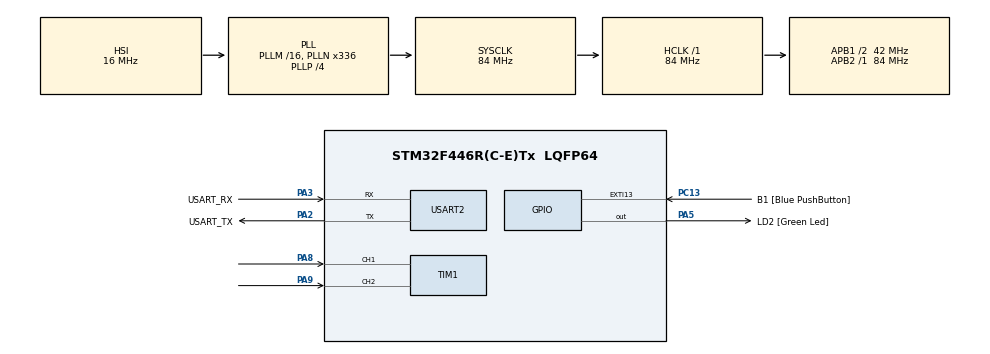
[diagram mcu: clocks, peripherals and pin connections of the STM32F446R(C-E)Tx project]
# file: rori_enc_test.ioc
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Mcu.Family=STM32F4
Mcu.Name=STM32F446R(C-E)Tx
Mcu.Package=LQFP64
NVIC.PriorityGroup=NVIC_PRIORITYGROUP_0
NVIC.TIM2_IRQn=true\:0\:0\:false\:false\:true\:true\:true\:true
PA13.GPIO_Label=TMS
PA13.Mode=Serial_Wire
PA13.Signal=SYS_JTMS-SWDIO
PA14.GPIO_Label=TCK
PA14.Mode=Serial_Wire
PA14.Signal=SYS_JTCK-SWCLK
PA2.GPIO_Label=USART_TX
PA2.Mode=Asynchronous
PA2.Signal=USART2_TX
PA3.GPIO_Label=USART_RX
PA3.Mode=Asynchronous
PA3.Signal=USART2_RX
PA5.GPIO_Label=LD2 [Green Led]
PA5.Signal=GPIO_Output
PA8.Signal=S_TIM1_CH1
PA9.Signal=S_TIM1_CH2
PB3.GPIO_Label=SWO
PB3.Signal=SYS_JTDO-SWO
PC13.GPIO_Label=B1 [Blue PushButton]
PC13.GPIO_ModeDefaultEXTI=GPIO_MODE_IT_FALLING
PC13.Signal=GPXTI13
PC14-OSC32_IN.Mode=LSE-External-Oscillator
PC14-OSC32_IN.Signal=RCC_OSC32_IN
PC15-OSC32_OUT.Mode=LSE-External-Oscillator
PC15-OSC32_OUT.Signal=RCC_OSC32_OUT
PH0-OSC_IN.Mode=HSE-External-Oscillator
PH0-OSC_IN.Signal=RCC_OSC_IN
PH1-OSC_OUT.Mode=HSE-External-Oscillator
PH1-OSC_OUT.Signal=RCC_OSC_OUT
ProjectManager.HeapSize=0x200
ProjectManager.StackSize=0x400
ProjectManager.TargetToolchain=STM32CubeIDE
RCC.48MHZClocksFreq_Value=84000000
RCC.AHBFreq_Value=84000000
RCC.APB1CLKDivider=RCC_HCLK_DIV2
RCC.APB1Freq_Value=42000000
RCC.APB1TimFreq_Value=84000000
RCC.APB2Freq_Value=84000000
RCC.APB2TimFreq_Value=84000000
RCC.CortexFreq_Value=84000000
RCC.FLatency-AdvancedSettings=FLASH_LATENCY_2
RCC.HCLKFreq_Value=84000000
RCC.HSE_VALUE=8000000
RCC.HSI_VALUE=16000000
RCC.PLLN=336
RCC.PLLP=RCC_PLLP_DIV4
RCC.SYSCLKFreq_VALUE=84000000
RCC.SYSCLKSource=RCC_SYSCLKSOURCE_PLLCLK
RCC.USBFreq_Value=168000000
RCC.VCOOutputFreq_Value=336000000
SH.S_TIM1_CH1.0=TIM1_CH1,Encoder_Interface
SH.S_TIM1_CH2.0=TIM1_CH2,Encoder_Interface
TIM1.EncoderMode=TIM_ENCODERMODE_TI12
TIM2.Period=10000-1
TIM2.Prescaler=8400-1
USART2.VirtualMode=VM_ASYNC
VP_TIM2_VS_ClockSourceINT.Mode=Internal
board=NUCLEO-F446RE

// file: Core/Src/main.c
/* USER CODE BEGIN Header */
/**
  ******************************************************************************
  * @file           : main.c
  * @brief          : Main program body
  ******************************************************************************
  * @attention
  *
  * Copyright (c) 2023 STMicroelectronics.
  * All rights reserved.
  *
  * This software is licensed under terms that can be found in the LICENSE file
  * in the root directory of this software component.
  * If no LICENSE file comes with this software, it is provided AS-IS.
  *
  ******************************************************************************
  */
/* USER CODE END Header */
#include "main.h"

/* USER CODE BEGIN Includes */
#include "stdio.h"
#include "stdint.h"
/* USER CODE END Includes */

TIM_HandleTypeDef htim1;
TIM_HandleTypeDef htim2;

UART_HandleTypeDef huart2;

void SystemClock_Config(void);
static void MX_GPIO_Init(void);
static void MX_USART2_UART_Init(void);
static void MX_TIM1_Init(void);
static void MX_TIM2_Init(void);
/* USER CODE BEGIN PFP */
void HAL_TIM_PeriodElapsedCallback(TIM_HandleTypeDef* htim_);
/* USER CODE END PFP */

/* USER CODE BEGIN 0 */
int16_t pre_cnt = 0;
int16_t cnt = 0;
/* USER CODE END 0 */

int main(void)
{

  /* MCU Configuration--------------------------------------------------------*/

  /* Reset of all peripherals, Initializes the Flash interface and the Systick. */
  HAL_Init();

  /* Configure the system clock */
  SystemClock_Config();

  /* Initialize all configured peripherals */
  MX_GPIO_Init();
  MX_USART2_UART_Init();
  MX_TIM1_Init();
  MX_TIM2_Init();
  /* USER CODE BEGIN 2 */
  setbuf(stdout, NULL);

  HAL_TIM_Encoder_Start(&htim1, TIM_CHANNEL_ALL);
  HAL_TIM_Base_Start_IT(&htim1);
  HAL_TIM_Base_Start_IT(&htim2);

  /* USER CODE END 2 */

  /* Infinite loop */
  while (1)
  {

  }
}

void SystemClock_Config(void)
{
  RCC_OscInitTypeDef RCC_OscInitStruct = {0};
  RCC_ClkInitTypeDef RCC_ClkInitStruct = {0};

  /** Configure the main internal regulator output voltage
  */
  __HAL_RCC_PWR_CLK_ENABLE();
  __HAL_PWR_VOLTAGESCALING_CONFIG(PWR_REGULATOR_VOLTAGE_SCALE3);

  /** Initializes the RCC Oscillators according to the specified parameters
  * in the RCC_OscInitTypeDef structure.
  */
  RCC_OscInitStruct.OscillatorType = RCC_OSCILLATORTYPE_HSI;
  RCC_OscInitStruct.HSIState = RCC_HSI_ON;
  RCC_OscInitStruct.HSICalibrationValue = RCC_HSICALIBRATION_DEFAULT;
  RCC_OscInitStruct.PLL.PLLState = RCC_PLL_ON;
  RCC_OscInitStruct.PLL.PLLSource = RCC_PLLSOURCE_HSI;
  RCC_OscInitStruct.PLL.PLLM = 16;
  RCC_OscInitStruct.PLL.PLLN = 336;
  RCC_OscInitStruct.PLL.PLLP = RCC_PLLP_DIV4;
  RCC_OscInitStruct.PLL.PLLQ = 2;
  RCC_OscInitStruct.PLL.PLLR = 2;
  if (HAL_RCC_OscConfig(&RCC_OscInitStruct) != HAL_OK)
  {
    Error_Handler();
  }

  /** Initializes the CPU, AHB and APB buses clocks
  */
  RCC_ClkInitStruct.ClockType = RCC_CLOCKTYPE_HCLK|RCC_CLOCKTYPE_SYSCLK
                              |RCC_CLOCKTYPE_PCLK1|RCC_CLOCKTYPE_PCLK2;
  RCC_ClkInitStruct.SYSCLKSource = RCC_SYSCLKSOURCE_PLLCLK;
  RCC_ClkInitStruct.AHBCLKDivider = RCC_SYSCLK_DIV1;
  RCC_ClkInitStruct.APB1CLKDivider = RCC_HCLK_DIV2;
  RCC_ClkInitStruct.APB2CLKDivider = RCC_HCLK_DIV1;

  if (HAL_RCC_ClockConfig(&RCC_ClkInitStruct, FLASH_LATENCY_2) != HAL_OK)
  {
    Error_Handler();
  }
}

static void MX_TIM1_Init(void)
{

  TIM_Encoder_InitTypeDef sConfig = {0};
  TIM_MasterConfigTypeDef sMasterConfig = {0};

  htim1.Instance = TIM1;
  htim1.Init.Prescaler = 0;
  htim1.Init.CounterMode = TIM_COUNTERMODE_UP;
  htim1.Init.Period = 65535;
  htim1.Init.ClockDivision = TIM_CLOCKDIVISION_DIV1;
  htim1.Init.RepetitionCounter = 0;
  htim1.Init.AutoReloadPreload = TIM_AUTORELOAD_PRELOAD_DISABLE;
  sConfig.EncoderMode = TIM_ENCODERMODE_TI12;
  sConfig.IC1Polarity = TIM_ICPOLARITY_RISING;
  sConfig.IC1Selection = TIM_ICSELECTION_DIRECTTI;
  sConfig.IC1Prescaler = TIM_ICPSC_DIV1;
  sConfig.IC1Filter = 0;
  sConfig.IC2Polarity = TIM_ICPOLARITY_RISING;
  sConfig.IC2Selection = TIM_ICSELECTION_DIRECTTI;
  sConfig.IC2Prescaler = TIM_ICPSC_DIV1;
  sConfig.IC2Filter = 0;
  if (HAL_TIM_Encoder_Init(&htim1, &sConfig) != HAL_OK)
  {
    Error_Handler();
  }
  sMasterConfig.MasterOutputTrigger = TIM_TRGO_RESET;
  sMasterConfig.MasterSlaveMode = TIM_MASTERSLAVEMODE_DISABLE;
  if (HAL_TIMEx_MasterConfigSynchronization(&htim1, &sMasterConfig) != HAL_OK)
  {
    Error_Handler();
  }

}

static void MX_TIM2_Init(void)
{

  TIM_ClockConfigTypeDef sClockSourceConfig = {0};
  TIM_MasterConfigTypeDef sMasterConfig = {0};

  htim2.Instance = TIM2;
  htim2.Init.Prescaler = 8400-1;
  htim2.Init.CounterMode = TIM_COUNTERMODE_UP;
  htim2.Init.Period = 10000-1;
  htim2.Init.ClockDivision = TIM_CLOCKDIVISION_DIV1;
  htim2.Init.AutoReloadPreload = TIM_AUTORELOAD_PRELOAD_DISABLE;
  if (HAL_TIM_Base_Init(&htim2) != HAL_OK)
  {
    Error_Handler();
  }
  sClockSourceConfig.ClockSource = TIM_CLOCKSOURCE_INTERNAL;
  if (HAL_TIM_ConfigClockSource(&htim2, &sClockSourceConfig) != HAL_OK)
  {
    Error_Handler();
  }
  sMasterConfig.MasterOutputTrigger = TIM_TRGO_RESET;
  sMasterConfig.MasterSlaveMode = TIM_MASTERSLAVEMODE_DISABLE;
  if (HAL_TIMEx_MasterConfigSynchronization(&htim2, &sMasterConfig) != HAL_OK)
  {
    Error_Handler();
  }

}

static void MX_USART2_UART_Init(void)
{

  huart2.Instance = USART2;
  huart2.Init.BaudRate = 115200;
  huart2.Init.WordLength = UART_WORDLENGTH_8B;
  huart2.Init.StopBits = UART_STOPBITS_1;
  huart2.Init.Parity = UART_PARITY_NONE;
  huart2.Init.Mode = UART_MODE_TX_RX;
  huart2.Init.HwFlowCtl = UART_HWCONTROL_NONE;
  huart2.Init.OverSampling = UART_OVERSAMPLING_16;
  if (HAL_UART_Init(&huart2) != HAL_OK)
  {
    Error_Handler();
  }

}

static void MX_GPIO_Init(void)
{
  GPIO_InitTypeDef GPIO_InitStruct = {0};

  /* GPIO Ports Clock Enable */
  __HAL_RCC_GPIOC_CLK_ENABLE();
  __HAL_RCC_GPIOH_CLK_ENABLE();
  __HAL_RCC_GPIOA_CLK_ENABLE();
  __HAL_RCC_GPIOB_CLK_ENABLE();

  /*Configure GPIO pin Output Level */
  HAL_GPIO_WritePin(LD2_GPIO_Port, LD2_Pin, GPIO_PIN_RESET);

  /*Configure GPIO pin : B1_Pin */
  GPIO_InitStruct.Pin = B1_Pin;
  GPIO_InitStruct.Mode = GPIO_MODE_IT_FALLING;
  GPIO_InitStruct.Pull = GPIO_NOPULL;
  HAL_GPIO_Init(B1_GPIO_Port, &GPIO_InitStruct);

  /*Configure GPIO pin : LD2_Pin */
  GPIO_InitStruct.Pin = LD2_Pin;
  GPIO_InitStruct.Mode = GPIO_MODE_OUTPUT_PP;
  GPIO_InitStruct.Pull = GPIO_NOPULL;
  GPIO_InitStruct.Speed = GPIO_SPEED_FREQ_LOW;
  HAL_GPIO_Init(LD2_GPIO_Port, &GPIO_InitStruct);

}

/* USER CODE BEGIN 4 */

/**
 * @fn
 * printfを使うためのおまじない、気にする必要なし
 */
int _write(int file, char *ptr, int len)
{
  HAL_UART_Transmit(&huart2,(uint8_t *)ptr,len,10);
  return len;
}

/**
 * @fn
 * タイマー割込みのたびに呼ばれる関数
 * @brief
 * 349行目のifブロックの中では一秒ごとにロリコンの位置をはかり、前の位置と比較してrpmを出している
 */
void HAL_TIM_PeriodElapsedCallback(TIM_HandleTypeDef* htim_){
	if(htim_ -> Instance == TIM2){
		cnt = (int16_t)__HAL_TIM_GET_COUNTER(&htim1);
		int32_t delta_cnt = cnt - pre_cnt;
		printf("delta_cnt: %d(rpm)\r\n", delta_cnt*60/1024);
		pre_cnt = cnt;
	}
}
/* USER CODE END 4 */

void Error_Handler(void)
{
  __disable_irq();
  while (1)
  {
  }
}
